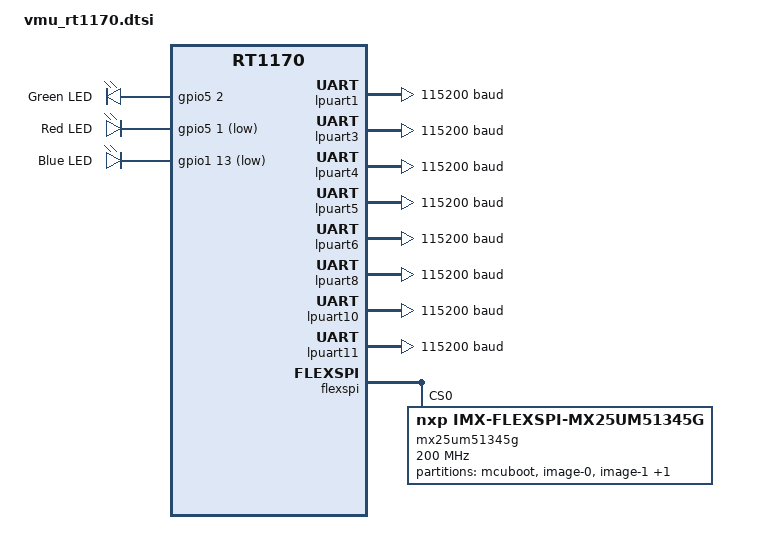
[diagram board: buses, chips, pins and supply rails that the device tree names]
/*
 * Copyright 2023 NXP
 *
 * SPDX-License-Identifier: Apache-2.0
 */

#include "vmu_rt1170-pinctrl.dtsi"

/ {
	aliases {
		led0 = &green_led;
		led1 = &red_led;
		led2 = &blue_led;
		sdhc0 = &usdhc1;
	};

	leds {
		compatible = "gpio-leds";
		green_led: led-1 {
			gpios = <&gpio5 2 GPIO_ACTIVE_HIGH>;
			label = "Green LED";
		};

		red_led: led-2 {
			gpios = <&gpio5 1 GPIO_ACTIVE_LOW>;
			label = "Red LED";
		};

		blue_led: led-3 {
			gpios = <&gpio1 13 GPIO_ACTIVE_LOW>;
			label = "Blue LED";
		};
	};
};

&semc {
	status = "disabled";
};

&lpuart1 {
	status = "okay";
	pinctrl-0 = <&pinmux_lpuart1>;
	pinctrl-names = "default";
	current-speed = <115200>;
};

&lpuart3 {
	status = "okay";
	pinctrl-0 = <&pinmux_lpuart3>;
	pinctrl-names = "default";
	current-speed = <115200>;
};

&lpuart4 {
	status = "okay";
	pinctrl-0 = <&pinmux_lpuart4>;
	pinctrl-names = "default";
	current-speed = <115200>;
};

&lpuart5 {
	status = "okay";
	pinctrl-0 = <&pinmux_lpuart5>;
	pinctrl-names = "default";
	current-speed = <115200>;
};

&lpuart6 {
	status = "okay";
	pinctrl-0 = <&pinmux_lpuart6>;
	pinctrl-names = "default";
	current-speed = <115200>;
};

&lpuart8 {
	status = "okay";
	pinctrl-0 = <&pinmux_lpuart8>;
	pinctrl-names = "default";
	current-speed = <115200>;
};

&lpuart10 {
	status = "okay";
	pinctrl-0 = <&pinmux_lpuart10>;
	pinctrl-names = "default";
	current-speed = <115200>;
};

&lpuart11 {
	status = "okay";
	pinctrl-0 = <&pinmux_lpuart11>;
	pinctrl-names = "default";
	current-speed = <115200>;
};

&green_led {
	status = "okay";
};

&enet1g {
	pinctrl-0 = <&pinmux_enet>;
	pinctrl-names = "default";
};

&flexcan1 {
	pinctrl-0 = <&pinmux_flexcan1>;
	pinctrl-names = "default";
};

&flexcan2 {
	pinctrl-0 = <&pinmux_flexcan2>;
	pinctrl-names = "default";
};

&flexcan3 {
	pinctrl-0 = <&pinmux_flexcan3>;
	pinctrl-names = "default";
};

&lpi2c1 {
	pinctrl-0 =<&pinmux_lpi2c1>;
	pinctrl-names = "default";
};

&lpi2c2 {
	pinctrl-0 =<&pinmux_lpi2c2>;
	pinctrl-names = "default";
};

&lpi2c3 {
	pinctrl-0 =<&pinmux_lpi2c3>;
	pinctrl-names = "default";
};

&lpi2c6 {
	pinctrl-0 =<&pinmux_lpi2c6>;
	pinctrl-names = "default";
};

&lpspi1 {
	pinctrl-0 = <&pinmux_lpspi1>;
	pinctrl-names = "default";
};

&lpspi2 {
	pinctrl-0 = <&pinmux_lpspi2>;
	pinctrl-names = "default";
};

&lpspi3 {
	pinctrl-0 = <&pinmux_lpspi3>;
	pinctrl-names = "default";
};

&lpspi6 {
	pinctrl-0 = <&pinmux_lpspi6>;
	pinctrl-names = "default";
};

&lpadc1 {
	pinctrl-0 = <&pinmux_lpadc1>;
	pinctrl-names = "default";
};

&flexspi {
	pinctrl-0 = <&pinmux_flexspi1>;
	pinctrl-names = "default";
};

&usdhc1 {
	pinctrl-0 = <&pinmux_usdhc1>;
	pinctrl-names = "default";
};

&flexspi {
	status = "okay";
	ahb-prefetch;
	ahb-read-addr-opt;
	rx-clock-source = <1>;
	reg = <0x400cc000 0x4000>, <0x30000000 DT_SIZE_M(16)>;
	mx25um51345g: mx25um51345g@0 {
		compatible = "nxp,imx-flexspi-mx25um51345g";
		/* MX25UM51245G is 64MB, 512MBit flash part */
		size = <DT_SIZE_M(64 * 8)>;
		reg = <0>;
		spi-max-frequency = <200000000>;
		status = "okay";
		jedec-id = [c2 81 3a];
		erase-block-size = <4096>;
		write-block-size = <16>;

		partitions {
			compatible = "fixed-partitions";
			#address-cells = <1>;
			#size-cells = <1>;

			boot_partition: partition@0 {
				label = "mcuboot";
				reg = <0x00000000 DT_SIZE_K(128)>;
			};
			slot0_partition: partition@20000 {
				label = "image-0";
				reg = <0x00020000 DT_SIZE_K(3076)>;
			};
			slot1_partition: partition@321000 {
				label = "image-1";
				reg = <0x00321000 DT_SIZE_K(3072)>;
			};
			storage_partition: partition@621000 {
				label = "storage";
				reg = <0x00621000 DT_SIZE_M(57)>;
			};
		};
	};
};
